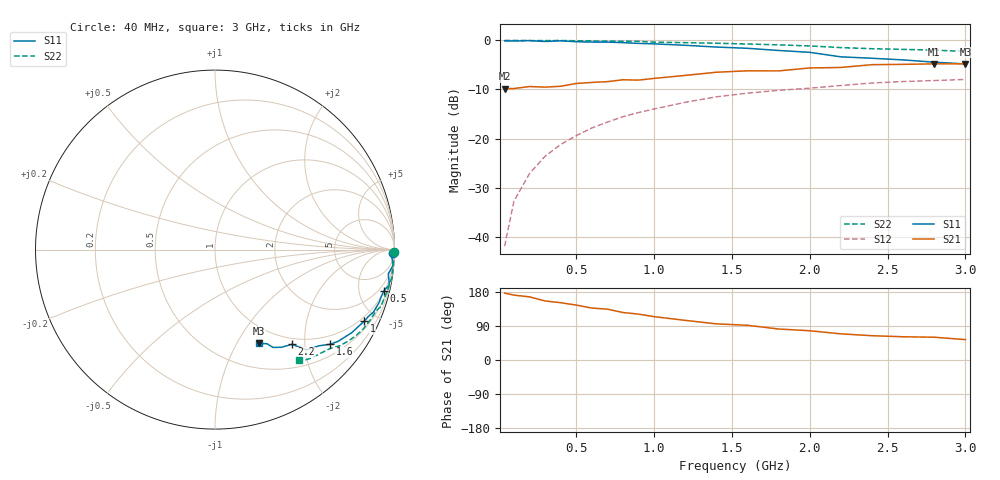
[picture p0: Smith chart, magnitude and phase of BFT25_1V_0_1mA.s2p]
! Filename:  BFT25A.S2P  Version:  2.0
! Philips part #: BFT25  Date: Jul 1990
! Bias condition: Vce=1V, Ic=0.1mA
#  MHz  S  MA  R  50
! Freq  S11  S21  S12  S22  !GUM [dB]
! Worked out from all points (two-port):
!   21 points, 40 MHz to 3 GHz, reference 50 ohm
!   highest |S21| = -4.78 dB at 2.8 GHz (marker M1); lowest = -9.8 dB at 40 MHz (marker M2)
!   |S21| within 3 dB of the highest: 990.7 MHz to end of sweep
!   lowest |S11| = -4.8 dB at 3 GHz (marker M3), VSWR 3.72, Z = 39.5 - j61.8 ohm
!   |S11| at or under -10 dB: nowhere
!   |S22| runs from -2.2 to 0.0 dB; largest |S21 - S12| = 0.34
!   S11 on the Smith chart (normalised r, x): 40 MHz: open; 500 MHz: 1.09, -8.18; 1 GHz: 0.80, -4.26; 1.6 GHz: 0.76, -2.60; 2.2 GHz: 0.89, -1.75; 3 GHz: 0.79, -1.24
40  0.991 -1.0  0.323 176.5  0.008 86.7  0.999 -0.9
100  0.987 -2.5  0.323 171.2  0.023 85.3  0.999 -2.2
200  0.995 -5.2  0.339 166.6  0.044 85.5  0.996 -4.3
300  0.975 -7.9  0.334 155.8  0.066 83.4  0.995 -6.7
400  0.991 -11.4  0.341 151.2  0.087 81.6  0.998 -8.9
500  0.969 -13.7  0.364 144.9  0.107 79.2  0.991 -10.7
600  0.962 -15.9  0.373 137.1  0.128 77.3  0.989 -13.1
700  0.961 -17.8  0.38 134.2  0.147 75.8  0.984 -15.1
800  0.949 -21.5  0.397 125.3  0.167 73.5  0.979 -17.3
900  0.932 -23.6  0.394 121.1  0.184 71.7  0.978 -18.9
1000  0.922 -25.6  0.41 114.4  0.2 69.6  0.96 -20.8
1200  0.892 -31.2  0.44 104.6  0.234 65.6  0.949 -24.6
1400  0.856 -36.6  0.474 95.4  0.266 61.5  0.936 -28.4
1600  0.831 -39.4  0.49 91.6  0.29 58.0  0.919 -31.6
1800  0.79 -42.7  0.489 81.8  0.31 55.5  0.901 -34.4
2000  0.756 -47.6  0.524 77.2  0.326 51.8  0.878 -37.6
2200  0.68 -50.9  0.53 69.0  0.347 48.2  0.845 -40.8
2400  0.658 -55.8  0.566 64.1  0.368 44.6  0.823 -44.7
2600  0.633 -59.4  0.57 61.3  0.381 42.3  0.81 -48.1
2800  0.6 -61.0  0.577 60.1  0.39 41.2  0.796 -50.4
3000  0.576 -65.0  0.577 53.8  0.4 38.3  0.772 -52.7
